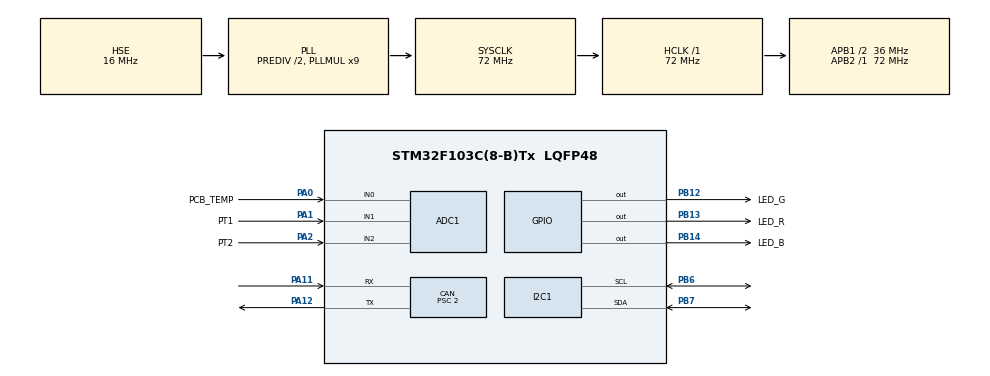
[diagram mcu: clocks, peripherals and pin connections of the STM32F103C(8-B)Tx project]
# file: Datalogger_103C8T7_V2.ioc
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ADC1.Channel-0\#ChannelRegularConversion=ADC_CHANNEL_0
ADC1.Channel-1\#ChannelRegularConversion=ADC_CHANNEL_1
ADC1.Channel-2\#ChannelRegularConversion=ADC_CHANNEL_2
ADC1.Channel-3\#ChannelRegularConversion=ADC_CHANNEL_TEMPSENSOR
ADC1.Channel-4\#ChannelRegularConversion=ADC_CHANNEL_VREFINT
ADC1.ContinuousConvMode=ENABLE
ADC1.NbrOfConversion=5
ADC1.NbrOfConversionFlag=1
ADC1.Rank-0\#ChannelRegularConversion=1
ADC1.Rank-1\#ChannelRegularConversion=2
ADC1.Rank-2\#ChannelRegularConversion=3
ADC1.Rank-3\#ChannelRegularConversion=4
ADC1.Rank-4\#ChannelRegularConversion=5
ADC1.SamplingTime-0\#ChannelRegularConversion=ADC_SAMPLETIME_239CYCLES_5
ADC1.SamplingTime-1\#ChannelRegularConversion=ADC_SAMPLETIME_239CYCLES_5
ADC1.SamplingTime-2\#ChannelRegularConversion=ADC_SAMPLETIME_239CYCLES_5
ADC1.SamplingTime-3\#ChannelRegularConversion=ADC_SAMPLETIME_55CYCLES_5
ADC1.SamplingTime-4\#ChannelRegularConversion=ADC_SAMPLETIME_55CYCLES_5
ADC1.master=1
CAN.BS1=CAN_BS1_15TQ
CAN.BS2=CAN_BS2_2TQ
CAN.CalculateBaudRate=1000000
CAN.CalculateTimeBit=1000
CAN.CalculateTimeQuantum=55.55555555555556
CAN.Prescaler=2
CAN.SJW=CAN_SJW_1TQ
Dma.ADC1.0.Direction=DMA_PERIPH_TO_MEMORY
Dma.ADC1.0.Instance=DMA1_Channel1
Dma.ADC1.0.MemDataAlignment=DMA_MDATAALIGN_WORD
Dma.ADC1.0.MemInc=DMA_MINC_ENABLE
Dma.ADC1.0.Mode=DMA_CIRCULAR
Dma.ADC1.0.PeriphDataAlignment=DMA_PDATAALIGN_WORD
Dma.ADC1.0.PeriphInc=DMA_PINC_DISABLE
Dma.ADC1.0.Priority=DMA_PRIORITY_VERY_HIGH
Dma.Request0=ADC1
Mcu.Family=STM32F1
Mcu.Name=STM32F103C(8-B)Tx
Mcu.Package=LQFP48
NVIC.DMA1_Channel1_IRQn=true\:6\:0\:true\:false\:true\:false\:true\:true
NVIC.PriorityGroup=NVIC_PRIORITYGROUP_4
NVIC.TIM2_IRQn=true\:15\:0\:true\:false\:true\:true\:true\:true
NVIC.TIM3_IRQn=true\:4\:0\:true\:false\:true\:true\:true\:true
NVIC.TIM4_IRQn=true\:3\:0\:true\:false\:true\:true\:true\:true
PA0-WKUP.GPIO_Label=PCB_TEMP
PA0-WKUP.Signal=ADCx_IN0
PA1.GPIO_Label=PT1
PA1.Signal=ADCx_IN1
PA11.Mode=CAN_Activate
PA11.Signal=CAN_RX
PA12.Mode=CAN_Activate
PA12.Signal=CAN_TX
PA13.Mode=Trace_Asynchronous_SW
PA13.Signal=SYS_JTMS-SWDIO
PA14.Mode=Trace_Asynchronous_SW
PA14.Signal=SYS_JTCK-SWCLK
PA2.GPIO_Label=PT2
PA2.Signal=ADCx_IN2
PB12.GPIO_Label=LED_G
PB12.Signal=GPIO_Output
PB13.GPIO_Label=LED_R
PB13.Signal=GPIO_Output
PB14.GPIO_Label=LED_B
PB14.Signal=GPIO_Output
PB3.Mode=Trace_Asynchronous_SW
PB3.Signal=SYS_JTDO-TRACESWO
PB6.Mode=I2C
PB6.Signal=I2C1_SCL
PB7.Mode=I2C
PB7.Signal=I2C1_SDA
PD0-OSC_IN.Mode=HSE-External-Oscillator
PD0-OSC_IN.Signal=RCC_OSC_IN
PD1-OSC_OUT.Mode=HSE-External-Oscillator
PD1-OSC_OUT.Signal=RCC_OSC_OUT
ProjectManager.HeapSize=0x200
ProjectManager.StackSize=0x400
ProjectManager.TargetToolchain=STM32CubeIDE
RCC.ADCPresc=RCC_ADCPCLK2_DIV6
RCC.AHBFreq_Value=72000000
RCC.APB1CLKDivider=RCC_HCLK_DIV2
RCC.APB1Freq_Value=36000000
RCC.APB1TimFreq_Value=72000000
RCC.APB2Freq_Value=72000000
RCC.APB2TimFreq_Value=72000000
RCC.HCLKFreq_Value=72000000
RCC.HSEDivPLL=RCC_HSE_PREDIV_DIV2
RCC.HSE_VALUE=16000000
RCC.PLLMUL=RCC_PLL_MUL9
RCC.PLLSourceVirtual=RCC_PLLSOURCE_HSE
RCC.SYSCLKFreq_VALUE=72000000
RCC.SYSCLKSource=RCC_SYSCLKSOURCE_PLLCLK
RCC.USBFreq_Value=72000000
SH.ADCx_IN0.0=ADC1_IN0,IN0
SH.ADCx_IN1.0=ADC1_IN1,IN1
SH.ADCx_IN2.0=ADC1_IN2,IN2
TIM2.Period=10000-1
TIM2.Prescaler=7200-1
TIM3.Period=2000-1
TIM3.Prescaler=7200-1
TIM4.Period=200-1
TIM4.Prescaler=7200-1
VP_ADC1_TempSens_Input.Mode=IN-TempSens
VP_ADC1_Vref_Input.Mode=IN-Vrefint
VP_TIM2_VS_ClockSourceINT.Mode=Internal
VP_TIM3_VS_ClockSourceINT.Mode=Internal
VP_TIM4_VS_ClockSourceINT.Mode=Internal
board=custom

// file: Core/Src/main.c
/* USER CODE BEGIN Header */
/**
  ******************************************************************************
  * @file           : main.c
  * @brief          : Main program body
  ******************************************************************************
  * @attention
  *
  * Copyright (c) 2024 STMicroelectronics.
  * All rights reserved.
  *
  * This software is licensed under terms that can be found in the LICENSE file
  * in the root directory of this software component.
  * If no LICENSE file comes with this software, it is provided AS-IS.
  *
  ******************************************************************************
  */
/* USER CODE END Header */
#include "main.h"

/* USER CODE BEGIN Includes */
#include "config.h"
#include "lmt84.h"
#include "pt1000.h"
#include "stm32_adc_utils.h"
#include <string.h>

#include "functions.h"
#include "constants.h"
/* USER CODE END Includes */

/* USER CODE BEGIN PD */
#define BOARD_TYPE BOARD_TYPE_WITHOUT_ANALOG
/* USER CODE END PD */

ADC_HandleTypeDef hadc1;
DMA_HandleTypeDef hdma_adc1;

CAN_HandleTypeDef hcan;

I2C_HandleTypeDef hi2c1;

TIM_HandleTypeDef htim2;
TIM_HandleTypeDef htim3;
TIM_HandleTypeDef htim4;

/* USER CODE BEGIN PV */
//Debug variables
uint32_t pippo = 0;
float pluto = 0.0f;
uint8_t paperino = 0;
uint8_t paperone = 0;
uint8_t error_I2C_test = 0;

//DMA variables
uint8_t dmaIndex = 0;
uint8_t dmaExcludedCyclesState = DMA_EXCLUDED_CYCLES_NO;
uint32_t dmaCounter = 0;
uint32_t dmaRawADC[5] = {0};

//Analog variables
uint16_t vRefRaw[DMA_CIRC_BUFF_LEN] = {0};
uint16_t microTempRaw[DMA_CIRC_BUFF_LEN] = {0};
uint16_t pcbTempRaw[DMA_CIRC_BUFF_LEN] = {0};
uint16_t pt1Raw[DMA_CIRC_BUFF_LEN] = {0};
uint16_t pt2Raw[DMA_CIRC_BUFF_LEN] = {0};

float vRef = 0.0f;
float microTemp = 0.0f;
float pcbTemp = 0.0f;
float pt1 = 0.0f;
float pt2 = 0.0f;

uint16_t pcbTempBuff[DMA_CIRC_BUFF_LEN] = {0};
uint16_t microTempBuff[DMA_CIRC_BUFF_LEN] = {0};
uint16_t vRefBuff[DMA_CIRC_BUFF_LEN] = {0};
uint16_t pt1Buff[DMA_CIRC_BUFF_LEN] = {0};
uint16_t pt2Buff[DMA_CIRC_BUFF_LEN] = {0};

//CAN Bus headers, mailbox and dataframes
CAN_TxHeaderTypeDef pHeaderHighFreq;
CAN_TxHeaderTypeDef pHeaderLowFreq;
uint32_t pTxMailbox;
CAN_FilterTypeDef sFilterConfig;
uint8_t pDataLowFreq[8] = {0};
uint8_t pDataHighFreq[8] = {0};

//I2C Analog variables
uint8_t adsConfigBuffer[3] = {0x00};
int16_t adsRawValues[4] = {0x00};
uint8_t adsRetBuffer[2] = {0x00};
float adsVoltageValues[4] = {0.0f, 0.0f, 0.0f, 0.0f};
float adsVread3_Right = 0.0f;
float adsVread2_Left = 0.0f;
uint8_t adsMuxConfiguration[4] = {0b11000001, 0b11010001, 0b11100001, 0b11110001};
uint8_t adsNextIndex = 0;
float adsCh0[DMA_CIRC_BUFF_LEN] = {0.0f};
float adsCh1[DMA_CIRC_BUFF_LEN] = {0.0f};
float adsCh2[DMA_CIRC_BUFF_LEN] = {0.0f};
float adsCh3[DMA_CIRC_BUFF_LEN] = {0.0f};
float adsAverageCh[4] = {0.0f};
uint8_t adsIndex = 0;
uint32_t adsCounter = 0;

float heightSensor1 = 0.0f, heightSensor2 = 0.0f;
float tempBrakeSensor1 =0.0f, tempBrakeSensor2 = 0.0f;

TIM_HandleTypeDef htim1;
float oversamplingVoltages = { 0 };
bool tim_elapsed_flag = 0;
/* USER CODE END PV */

void SystemClock_Config(void);
static void MX_GPIO_Init(void);
static void MX_DMA_Init(void);
static void MX_ADC1_Init(void);
static void MX_CAN_Init(void);
static void MX_I2C1_Init(void);
static void MX_TIM2_Init(void);
static void MX_TIM3_Init(void);
static void MX_TIM4_Init(void);
float map(float x, float in_min, float in_max, float out_min, float out_max);

int main(void)
{

  /* MCU Configuration--------------------------------------------------------*/

  /* Reset of all peripherals, Initializes the Flash interface and the Systick. */
  HAL_Init();

  /* Configure the system clock */
  SystemClock_Config();

  /* Initialize all configured peripherals */
  MX_GPIO_Init();
  MX_DMA_Init();
  MX_ADC1_Init();
  MX_CAN_Init();
  MX_I2C1_Init();
  MX_TIM2_Init();
  MX_TIM3_Init();
  MX_TIM4_Init();
  /* USER CODE BEGIN 2 */

  //ADC setup commands
  while (HAL_ADCEx_Calibration_Start(&hadc1) != HAL_OK){}
  HAL_ADC_Start_DMA(&hadc1, dmaRawADC, 5);

  //CAN Bus setup command
  sFilterConfig.FilterActivation = CAN_FILTER_DISABLE;
  sFilterConfig.FilterBank = 18;
  sFilterConfig.FilterFIFOAssignment = CAN_FILTER_FIFO0;
  sFilterConfig.FilterIdHigh = 0x446<<5;
  sFilterConfig.FilterIdLow = 0;
  sFilterConfig.FilterMaskIdHigh = 0x446<<5;
  sFilterConfig.FilterMaskIdLow = 0x0000;
  sFilterConfig.FilterMode = CAN_FILTERMODE_IDMASK;
  sFilterConfig.FilterScale = CAN_FILTERSCALE_32BIT;
  sFilterConfig.SlaveStartFilterBank = 20;

  //HAL_CAN_ConfigFilter(&hcan, &sFilterConfig);

  pHeaderHighFreq.IDE = CAN_ID_STD;
  pHeaderHighFreq.StdId = CAN_FAST_ADDR;
  pHeaderHighFreq.RTR = CAN_RTR_DATA;
  pHeaderHighFreq.DLC = 8;

  pHeaderLowFreq.IDE = CAN_ID_STD;
  pHeaderLowFreq.StdId = CAN_SLOW_ADDR;
  pHeaderLowFreq.RTR = CAN_RTR_DATA;
  pHeaderLowFreq.DLC = 8;

  HAL_CAN_Start(&hcan);

  //Timers start command
  HAL_TIM_Base_Start_IT(&htim2);
  HAL_TIM_Base_Start_IT(&htim3);
  HAL_TIM_Base_Start_IT(&htim4);

  //I2C ADC setup as:
  //- Single shot conversion
  //- Channel 0 (AINP = AIN0 and AINN = GND) -> In vector only this changes
  //- Full scale of 6144mV
  //- Single shot conversion mode
  //- Sampling frequency of 860SPS
  //- Traditional comparator mode
  //- Active Low comparator
  //- Non latching comparator
  //- Disable comparator

  adsConfigBuffer[0] = ADS_CONFIGURATION_REGISTER;
  adsConfigBuffer[1] = adsMuxConfiguration[0];
  adsConfigBuffer[2] = 0b11100011;

  if (HAL_I2C_Master_Transmit(&hi2c1, ADS_ADDRESS, adsConfigBuffer, 3, 100) != HAL_OK){
	  error_I2C_test = 2;
	  //Error_Handler();
  }

  HAL_Delay(50);
  /* USER CODE END 2 */

  /* Infinite loop */
  while (1)
  {

    /* USER CODE BEGIN 3 */
	  for (uint8_t i = 0; i < 4; i++){

		//Get conversion data
		if (HAL_I2C_Mem_Read(&hi2c1, ADS_ADDRESS, ADS_CONVERSION_REGISTER, 1, adsRetBuffer, 2, 10) != HAL_OK){
			error_I2C_test = 3;
			//Error_Handler();
		}

		//Decode converted data
		adsRawValues[i] = (adsRetBuffer[0] << 8 | adsRetBuffer[1]);
		adsVoltageValues[i] = adsRawValues[i] * ADS_CONVERSION_FACTOR;

		if (adsVoltageValues[i] < 560.0f) {
			adsVoltageValues[i] = 560.0f;
		} else if (adsVoltageValues[i] > 2800.0f) {
	  	  	  adsVoltageValues[i] = 2800.0f;
  	  	}

		//Prepare for next conversion
		adsNextIndex = (i+1)%4;
		adsConfigBuffer[1] = adsMuxConfiguration[adsNextIndex];

		//Send to ADC the configuration for next channel read
		if (HAL_I2C_Master_Transmit(&hi2c1, ADS_ADDRESS, adsConfigBuffer, 3, 10) != HAL_OK){
			error_I2C_test = 1;
			//Error_Handler();
		}

		//Wait for conversion 860sps -> around 1ms minimum wait
		HAL_Delay(2);
	}

	adsVread2_Left = adsVoltageValues[2]/1000;
	adsVread3_Right = adsVoltageValues[3]/1000;

	//Place values in the circular buffer
	adsIndex = adsCounter % DMA_CIRC_BUFF_LEN;
	adsCh0[adsIndex] = adsVoltageValues[0];
	adsCh1[adsIndex] = adsVoltageValues[1];
	adsCh2[adsIndex] = adsVoltageValues[2];
	adsCh3[adsIndex] = adsVoltageValues[3];
	adsCounter++;

	/////////////////////// NEW ADC

	getADCChannelVoltage(&hi2c1, &htim1, 1, 1, &oversamplingVoltages, &tim_elapsed_flag);

  }
  /* USER CODE END 3 */
}

void SystemClock_Config(void)
{
  RCC_OscInitTypeDef RCC_OscInitStruct = {0};
  RCC_ClkInitTypeDef RCC_ClkInitStruct = {0};
  RCC_PeriphCLKInitTypeDef PeriphClkInit = {0};

  /** Initializes the RCC Oscillators according to the specified parameters
  * in the RCC_OscInitTypeDef structure.
  */
  RCC_OscInitStruct.OscillatorType = RCC_OSCILLATORTYPE_HSE;
  RCC_OscInitStruct.HSEState = RCC_HSE_ON;
  RCC_OscInitStruct.HSEPredivValue = RCC_HSE_PREDIV_DIV2;
  RCC_OscInitStruct.HSIState = RCC_HSI_ON;
  RCC_OscInitStruct.PLL.PLLState = RCC_PLL_ON;
  RCC_OscInitStruct.PLL.PLLSource = RCC_PLLSOURCE_HSE;
  RCC_OscInitStruct.PLL.PLLMUL = RCC_PLL_MUL9;
  if (HAL_RCC_OscConfig(&RCC_OscInitStruct) != HAL_OK)
  {
    Error_Handler();
  }

  /** Initializes the CPU, AHB and APB buses clocks
  */
  RCC_ClkInitStruct.ClockType = RCC_CLOCKTYPE_HCLK|RCC_CLOCKTYPE_SYSCLK
                              |RCC_CLOCKTYPE_PCLK1|RCC_CLOCKTYPE_PCLK2;
  RCC_ClkInitStruct.SYSCLKSource = RCC_SYSCLKSOURCE_PLLCLK;
  RCC_ClkInitStruct.AHBCLKDivider = RCC_SYSCLK_DIV1;
  RCC_ClkInitStruct.APB1CLKDivider = RCC_HCLK_DIV2;
  RCC_ClkInitStruct.APB2CLKDivider = RCC_HCLK_DIV1;

  if (HAL_RCC_ClockConfig(&RCC_ClkInitStruct, FLASH_LATENCY_2) != HAL_OK)
  {
    Error_Handler();
  }
  PeriphClkInit.PeriphClockSelection = RCC_PERIPHCLK_ADC;
  PeriphClkInit.AdcClockSelection = RCC_ADCPCLK2_DIV6;
  if (HAL_RCCEx_PeriphCLKConfig(&PeriphClkInit) != HAL_OK)
  {
    Error_Handler();
  }
}

static void MX_ADC1_Init(void)
{

  ADC_ChannelConfTypeDef sConfig = {0};

  /** Common config
  */
  hadc1.Instance = ADC1;
  hadc1.Init.ScanConvMode = ADC_SCAN_ENABLE;
  hadc1.Init.ContinuousConvMode = ENABLE;
  hadc1.Init.DiscontinuousConvMode = DISABLE;
  hadc1.Init.ExternalTrigConv = ADC_SOFTWARE_START;
  hadc1.Init.DataAlign = ADC_DATAALIGN_RIGHT;
  hadc1.Init.NbrOfConversion = 5;
  if (HAL_ADC_Init(&hadc1) != HAL_OK)
  {
    Error_Handler();
  }

  /** Configure Regular Channel
  */
  sConfig.Channel = ADC_CHANNEL_0;
  sConfig.Rank = ADC_REGULAR_RANK_1;
  sConfig.SamplingTime = ADC_SAMPLETIME_239CYCLES_5;
  if (HAL_ADC_ConfigChannel(&hadc1, &sConfig) != HAL_OK)
  {
    Error_Handler();
  }

  /** Configure Regular Channel
  */
  sConfig.Channel = ADC_CHANNEL_1;
  sConfig.Rank = ADC_REGULAR_RANK_2;
  if (HAL_ADC_ConfigChannel(&hadc1, &sConfig) != HAL_OK)
  {
    Error_Handler();
  }

  /** Configure Regular Channel
  */
  sConfig.Channel = ADC_CHANNEL_2;
  sConfig.Rank = ADC_REGULAR_RANK_3;
  if (HAL_ADC_ConfigChannel(&hadc1, &sConfig) != HAL_OK)
  {
    Error_Handler();
  }

  /** Configure Regular Channel
  */
  sConfig.Channel = ADC_CHANNEL_TEMPSENSOR;
  sConfig.Rank = ADC_REGULAR_RANK_4;
  sConfig.SamplingTime = ADC_SAMPLETIME_55CYCLES_5;
  if (HAL_ADC_ConfigChannel(&hadc1, &sConfig) != HAL_OK)
  {
    Error_Handler();
  }

  /** Configure Regular Channel
  */
  sConfig.Channel = ADC_CHANNEL_VREFINT;
  sConfig.Rank = ADC_REGULAR_RANK_5;
  if (HAL_ADC_ConfigChannel(&hadc1, &sConfig) != HAL_OK)
  {
    Error_Handler();
  }

}

static void MX_CAN_Init(void)
{

  hcan.Instance = CAN1;
  hcan.Init.Prescaler = 2;
  hcan.Init.Mode = CAN_MODE_NORMAL;
  hcan.Init.SyncJumpWidth = CAN_SJW_1TQ;
  hcan.Init.TimeSeg1 = CAN_BS1_15TQ;
  hcan.Init.TimeSeg2 = CAN_BS2_2TQ;
  hcan.Init.TimeTriggeredMode = DISABLE;
  hcan.Init.AutoBusOff = DISABLE;
  hcan.Init.AutoWakeUp = DISABLE;
  hcan.Init.AutoRetransmission = DISABLE;
  hcan.Init.ReceiveFifoLocked = DISABLE;
  hcan.Init.TransmitFifoPriority = DISABLE;
  if (HAL_CAN_Init(&hcan) != HAL_OK)
  {
    Error_Handler();
  }

}

static void MX_I2C1_Init(void)
{

  hi2c1.Instance = I2C1;
  hi2c1.Init.ClockSpeed = 100000;
  hi2c1.Init.DutyCycle = I2C_DUTYCYCLE_2;
  hi2c1.Init.OwnAddress1 = 0;
  hi2c1.Init.AddressingMode = I2C_ADDRESSINGMODE_7BIT;
  hi2c1.Init.DualAddressMode = I2C_DUALADDRESS_DISABLE;
  hi2c1.Init.OwnAddress2 = 0;
  hi2c1.Init.GeneralCallMode = I2C_GENERALCALL_DISABLE;
  hi2c1.Init.NoStretchMode = I2C_NOSTRETCH_DISABLE;
  if (HAL_I2C_Init(&hi2c1) != HAL_OK)
  {
    Error_Handler();
  }

}

static void MX_TIM2_Init(void)
{

  TIM_ClockConfigTypeDef sClockSourceConfig = {0};
  TIM_MasterConfigTypeDef sMasterConfig = {0};

  htim2.Instance = TIM2;
  htim2.Init.Prescaler = 7200-1;
  htim2.Init.CounterMode = TIM_COUNTERMODE_UP;
  htim2.Init.Period = 10000-1;
  htim2.Init.ClockDivision = TIM_CLOCKDIVISION_DIV1;
  htim2.Init.AutoReloadPreload = TIM_AUTORELOAD_PRELOAD_DISABLE;
  if (HAL_TIM_Base_Init(&htim2) != HAL_OK)
  {
    Error_Handler();
  }
  sClockSourceConfig.ClockSource = TIM_CLOCKSOURCE_INTERNAL;
  if (HAL_TIM_ConfigClockSource(&htim2, &sClockSourceConfig) != HAL_OK)
  {
    Error_Handler();
  }
  sMasterConfig.MasterOutputTrigger = TIM_TRGO_RESET;
  sMasterConfig.MasterSlaveMode = TIM_MASTERSLAVEMODE_DISABLE;
  if (HAL_TIMEx_MasterConfigSynchronization(&htim2, &sMasterConfig) != HAL_OK)
  {
    Error_Handler();
  }

}

static void MX_TIM3_Init(void)
{

  TIM_ClockConfigTypeDef sClockSourceConfig = {0};
  TIM_MasterConfigTypeDef sMasterConfig = {0};

  htim3.Instance = TIM3;
  htim3.Init.Prescaler = 7200-1;
  htim3.Init.CounterMode = TIM_COUNTERMODE_UP;
  htim3.Init.Period = 2000-1;
  htim3.Init.ClockDivision = TIM_CLOCKDIVISION_DIV1;
  htim3.Init.AutoReloadPreload = TIM_AUTORELOAD_PRELOAD_DISABLE;
  if (HAL_TIM_Base_Init(&htim3) != HAL_OK)
  {
    Error_Handler();
  }
  sClockSourceConfig.ClockSource = TIM_CLOCKSOURCE_INTERNAL;
  if (HAL_TIM_ConfigClockSource(&htim3, &sClockSourceConfig) != HAL_OK)
  {
    Error_Handler();
  }
  sMasterConfig.MasterOutputTrigger = TIM_TRGO_RESET;
  sMasterConfig.MasterSlaveMode = TIM_MASTERSLAVEMODE_DISABLE;
  if (HAL_TIMEx_MasterConfigSynchronization(&htim3, &sMasterConfig) != HAL_OK)
  {
    Error_Handler();
  }

}

static void MX_TIM4_Init(void)
{

  TIM_ClockConfigTypeDef sClockSourceConfig = {0};
  TIM_MasterConfigTypeDef sMasterConfig = {0};

  htim4.Instance = TIM4;
  htim4.Init.Prescaler = 7200-1;
  htim4.Init.CounterMode = TIM_COUNTERMODE_UP;
  htim4.Init.Period = 200-1;
  htim4.Init.ClockDivision = TIM_CLOCKDIVISION_DIV1;
  htim4.Init.AutoReloadPreload = TIM_AUTORELOAD_PRELOAD_DISABLE;
  if (HAL_TIM_Base_Init(&htim4) != HAL_OK)
  {
    Error_Handler();
  }
  sClockSourceConfig.ClockSource = TIM_CLOCKSOURCE_INTERNAL;
  if (HAL_TIM_ConfigClockSource(&htim4, &sClockSourceConfig) != HAL_OK)
  {
    Error_Handler();
  }
  sMasterConfig.MasterOutputTrigger = TIM_TRGO_RESET;
  sMasterConfig.MasterSlaveMode = TIM_MASTERSLAVEMODE_DISABLE;
  if (HAL_TIMEx_MasterConfigSynchronization(&htim4, &sMasterConfig) != HAL_OK)
  {
    Error_Handler();
  }

}

static void MX_DMA_Init(void)
{

  /* DMA controller clock enable */
  __HAL_RCC_DMA1_CLK_ENABLE();

  /* DMA interrupt init */
  /* DMA1_Channel1_IRQn interrupt configuration */
  HAL_NVIC_SetPriority(DMA1_Channel1_IRQn, 6, 0);
  HAL_NVIC_EnableIRQ(DMA1_Channel1_IRQn);

}

static void MX_GPIO_Init(void)
{
  GPIO_InitTypeDef GPIO_InitStruct = {0};

  /* GPIO Ports Clock Enable */
  __HAL_RCC_GPIOD_CLK_ENABLE();
  __HAL_RCC_GPIOA_CLK_ENABLE();
  __HAL_RCC_GPIOB_CLK_ENABLE();

  /*Configure GPIO pin Output Level */
  HAL_GPIO_WritePin(GPIOB, LED_G_Pin|LED_R_Pin|LED_B_Pin, GPIO_PIN_RESET);

  /*Configure GPIO pins : LED_G_Pin LED_R_Pin LED_B_Pin */
  GPIO_InitStruct.Pin = LED_G_Pin|LED_R_Pin|LED_B_Pin;
  GPIO_InitStruct.Mode = GPIO_MODE_OUTPUT_PP;
  GPIO_InitStruct.Pull = GPIO_NOPULL;
  GPIO_InitStruct.Speed = GPIO_SPEED_FREQ_LOW;
  HAL_GPIO_Init(GPIOB, &GPIO_InitStruct);

}

/* USER CODE BEGIN 4 */

//DMA interrupt handler -> Each time DMA completes all conversions save them in a custom circular buffer
void HAL_ADC_ConvCpltCallback(ADC_HandleTypeDef* hadc) {
	if ((dmaCounter > DMA_EXCLUDED_CYCLES) || (dmaExcludedCyclesState == DMA_EXCLUDED_CYCLES_YES)){
		dmaIndex = dmaCounter % DMA_CIRC_BUFF_LEN;
		dmaExcludedCyclesState = DMA_EXCLUDED_CYCLES_YES;
		pcbTempRaw[dmaIndex] = dmaRawADC[0];
		pt1Raw[dmaIndex] = dmaRawADC[1];
		pt2Raw[dmaIndex] = dmaRawADC[2];
		microTempRaw[dmaIndex] = dmaRawADC[3];
		vRefRaw[dmaIndex] = dmaRawADC[4];
	}
	dmaCounter++;
}

//TIM elapsed callback
void HAL_TIM_PeriodElapsedCallback(TIM_HandleTypeDef *htim) {
	if (htim->Instance == TIM2){
		//Tim2 @ 1Hz to blink green led for i'm alive state
		HAL_GPIO_TogglePin(LED_G_GPIO_Port, LED_G_Pin);
	} else if (htim->Instance == TIM3){
		//Tim3 @ 5Hz to send board info and eventually (if enabled) pt1000 data

		//Send over can if more than 2*DMA_CIRC_BUFF_LEN are elapsed
		if(dmaCounter > (DMA_EXCLUDED_CYCLES + DMA_CIRC_BUFF_LEN)){
			//Copy data of DMA into buffers (to avoid that DMA updates data while elaborating it
			memcpy(pcbTempBuff, pcbTempRaw, sizeof(pcbTempRaw));
			memcpy(vRefBuff, vRefRaw, sizeof(vRefRaw));
			memcpy(microTempBuff, microTempRaw, sizeof(microTempRaw));
			memcpy(pt1Buff, pt1Raw, sizeof(pt1Raw));
			memcpy(pt2Buff, pt2Raw, sizeof(pt2Raw));

			//For each element of array evaluate its correct value using vref to calculate fullscale
			float tmp, fullScale=0;
			for (uint8_t i=0; i < DMA_CIRC_BUFF_LEN; i++){
				paperino = i;
				pluto = 0;
				fullScale = getMaxVoltageF103(vRefBuff[i]);
				pluto = (((float) pcbTempBuff[i]) / 4095.0f * fullScale);
				LMT84_getTemperature(LMT84_SQRT_MODE, ((float) pcbTempBuff[i] / 4095.0f * fullScale), &tmp);
				pcbTemp+=tmp;
				microTemp += getInternalTemperatureF103(((float) microTempBuff[i]) / 4095.0f * fullScale);
				if (BOARD_TYPE == BOARD_TYPE_WITH_ANALOG){
					pt1000_getTemperature(10000, PT1000_EXT_RES_PULLDOWN, PT1000_EQN_MODE, pt1Buff[i], &tmp);
					pt1 += tmp;
					pt1000_getTemperature(10000, PT1000_EXT_RES_PULLDOWN, PT1000_EQN_MODE, pt2Buff[i], &tmp);
					pt2 += tmp;
				}
				pippo++;
			}

			//Evaluate averages
			pcbTemp /= DMA_CIRC_BUFF_LEN;
			microTemp /= DMA_CIRC_BUFF_LEN;
			if (BOARD_TYPE == BOARD_TYPE_WITH_ANALOG){
				pt1 /= DMA_CIRC_BUFF_LEN;
				pt2 /= DMA_CIRC_BUFF_LEN;
			}

			//Assign data values to can bytes
			pDataLowFreq[0] = (uint8_t) (((uint16_t) (pcbTemp * CAN_PCB_TEMP_SCALE)) >> 8);
			pDataLowFreq[1] = (uint8_t) (pcbTemp * CAN_PCB_TEMP_SCALE);
			pDataLowFreq[2] = (uint8_t) (((uint16_t) (microTemp * CAN_MICRO_TEMP_SCALE)) >> 8);
			pDataLowFreq[3] = (uint8_t) (microTemp * CAN_MICRO_TEMP_SCALE);

			//Check if board is programmed for analog sensors and if values are coherent
			if (BOARD_TYPE == BOARD_TYPE_WITH_ANALOG){
				if (pt1 >= 0){
					pDataLowFreq[4] = (uint8_t) (((uint16_t) (pt1 * CAN_PT1_SCALE)) >> 8);
					pDataLowFreq[5] = (uint8_t) (pt1 * CAN_PT1_SCALE);
				} else {
					pDataLowFreq[4] = 0xFF;
					pDataLowFreq[5] = 0xFF;
				}
				if (pt2 >= 0){
					pDataLowFreq[6] = (uint8_t) (((uint16_t) (pt2 * CAN_PT2_SCALE)) >> 8);
					pDataLowFreq[7] = (uint8_t) (pt2 * CAN_PT2_SCALE);
				} else {
					pDataLowFreq[6] = 0xFF;
					pDataLowFreq[7] = 0xFF;
				}

			} else {
				pDataLowFreq[4] = 0x00;
				pDataLowFreq[5] = 0x00;
				pDataLowFreq[6] = 0x00;
				pDataLowFreq[7] = 0x00;
			}

			//Send data
			HAL_CAN_AddTxMessage(&hcan, &pHeaderLowFreq, pDataLowFreq, &pTxMailbox);
		}

	} else if (htim->Instance == TIM4){
		//Tim4 @ 50Hz to send I2C Analog values

		//Evaluate averages
		for (uint8_t i = 0; i < DMA_CIRC_BUFF_LEN; i++){
			adsAverageCh[0] += adsCh0[i];
			adsAverageCh[1] += adsCh1[i];
			adsAverageCh[2] += adsCh2[i];
			adsAverageCh[3] += adsCh3[i];
		}
		adsAverageCh[0] /= DMA_CIRC_BUFF_LEN;
		adsAverageCh[1] /= DMA_CIRC_BUFF_LEN;
		adsAverageCh[2] /= DMA_CIRC_BUFF_LEN;
		adsAverageCh[3] /= DMA_CIRC_BUFF_LEN;

		//Assign data values to CAN bytes (all values are stored in mV)
												//Rangemm		//RangeV
		heightSensor1 = ((adsVoltageValues[2]) * (104.0f/(2795.0f-560.0f))-10.0f);
		heightSensor2 = ((adsVoltageValues[3]) * (104.0f/(2795.0f-560.0f))-10.0f);
		tempBrakeSensor1 = map(adsVoltageValues[0], 0, 5, 0, 1000);
		tempBrakeSensor2 = map(adsVoltageValues[1], 0, 5, 0, 1000);

		//il calcolo della conversione è ((adsVoltageValues[3]) * (104.0f/(2795.0f-560.0f))-10.0f)

		// la centralina legge prima i bit da 0 a 16 e da 16 a 32

		pDataHighFreq[0] = (uint8_t) (((uint16_t) (heightSensor1 * 10)) >> 8); //lohigh
		pDataHighFreq[1] = (uint8_t) (heightSensor1 * 10);

		//i primi due byte sono heightSensor2
		pDataHighFreq[2] = (uint8_t) (((uint16_t) (heightSensor2 * 10)) >> 8); //loHigh
		pDataHighFreq[3] = (uint8_t) (heightSensor2 * 10);

		//
		pDataHighFreq[4] = (uint8_t) (((uint16_t) tempBrakeSensor1) >> 8); //loHigh
		pDataHighFreq[5] = (uint8_t) (tempBrakeSensor1);

		pDataHighFreq[6] = (uint8_t) (((uint16_t) tempBrakeSensor2) >> 8); //loHigh
		pDataHighFreq[7] = (uint8_t) tempBrakeSensor2;
		//Send data
		HAL_CAN_AddTxMessage(&hcan, &pHeaderHighFreq, pDataHighFreq, &pTxMailbox);
	}
}

/* x è il valore di partenza, che deve essere convertito.
 * in_min e in_max è il range del sensore in voltaggio
 * out_min e out_max sono i valoi per cui verranno mappati in_min e in_max.
 * es= se in_min = 0 e in_max = 5; out_min = 100 e out_max = 200. allora
 * se x=0 verrà automaticamente mappato a 100
 */
float map(float x, float in_min, float in_max, float out_min, float out_max)
{
	return(x - in_min) * (out_max - out_min) / (in_max - in_min) + out_min;
}

void Error_Handler(void)
{
  /* USER CODE BEGIN Error_Handler_Debug */
  /* User can add his own implementation to report the HAL error return state */
  __disable_irq();
  while (1){
	  HAL_GPIO_TogglePin(LED_R_GPIO_Port, LED_R_Pin);
	  HAL_Delay(1000);
  }
  /* USER CODE END Error_Handler_Debug */
}
